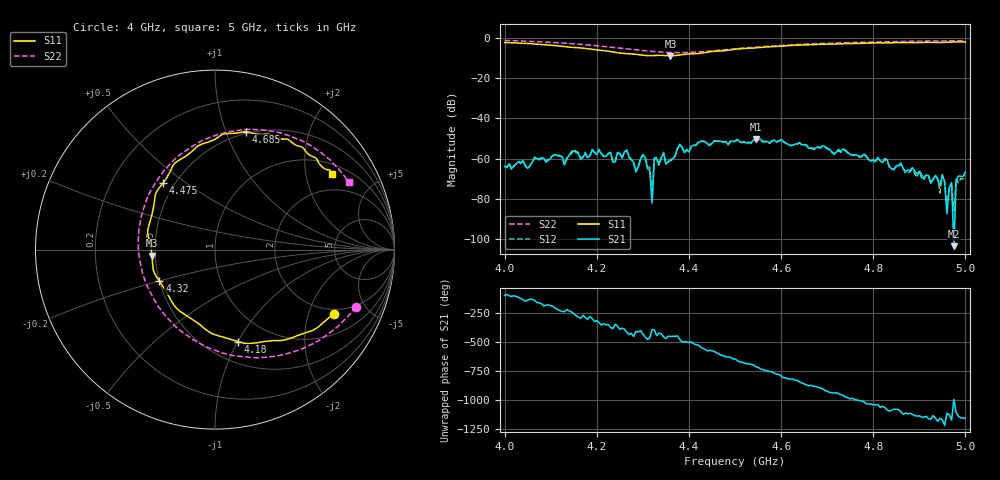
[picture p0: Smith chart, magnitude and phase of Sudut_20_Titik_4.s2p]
# Hz S RI R 50
! CMT, C1220, 16058040, 17.2.0/1
! Date: 15/08/2018 12:27:03
! Data: Format (Calibration Info)
! Freq  S11: Re/Im (F2)  S21: Re/Im (F2)  S12: Re/Im (F2)  S22: Re/Im (F2)
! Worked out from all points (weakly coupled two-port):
!   201 points, 4 GHz to 5 GHz, reference 50 ohm
!   highest |S21| = -50.34 dB at 4.545 GHz (marker M1); lowest = -103.3 dB at 4.975 GHz (marker M2)
!   lowest |S11| = -9.1 dB at 4.36 GHz (marker M3), VSWR 2.09, Z = 24 - j1.85 ohm
!   |S11| at or under -10 dB: nowhere
!   |S22| runs from -7.5 to -1.5 dB; largest |S21 - S12| = 0.00019
!   S11 on the Smith chart (normalised r, x): 4 GHz: 1.79, -2.96; 4.18 GHz: 0.70, -1.00; 4.32 GHz: 0.50, -0.20; 4.475 GHz: 0.43, +0.41; 4.685 GHz: 0.48, +1.18; 5 GHz: 1.34, +2.80
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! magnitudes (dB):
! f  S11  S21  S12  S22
! 4 GHz  -2.5  -63.8  -63.7  -1.5
! 4.17 GHz  -5.3  -59.5  -59.1  -3.5
! 4.18 GHz  -5.6  -59.5  -59.4  -3.6
! 4.265 GHz  -8.0  -55.7  -55.9  -5.6
! 4.285 GHz  -8.3  -66.5  -66.5  -6.1
! 4.3 GHz  -8.8  -58.3  -57.9  -6.5
! 4.315 GHz  -9.0  -65.7  -64.3  -6.8
! 4.32 GHz  -9.0  -82.0  -77.8  -6.9
! 4.325 GHz  -8.9  -59.7  -59.7  -7.0
! 4.335 GHz  -8.8  -62.9  -63.2  -7.2
! 4.36 GHz  -9.1  -60.5  -60.9  -7.4
! 4.475 GHz  -6.6  -51.8  -51.7  -6.1
! 4.5 GHz  -5.8  -51.2  -51.6  -5.6
! 4.545 GHz  -5.1  -50.3  -50.7  -4.8
! 4.67 GHz  -3.5  -54.9  -55.4  -3.1
! 4.685 GHz  -3.4  -54.5  -54.8  -3.0
! 4.835 GHz  -2.6  -64.2  -63.8  -2.0
! 4.945 GHz  -2.5  -73.3  -76.9  -1.7
! 4.95 GHz  -2.4  -68.2  -68.0  -1.7
! 4.975 GHz  -2.2  -103.3  -85.7  -1.6
! 4.98 GHz  -2.2  -70.7  -69.9  -1.6
! 5 GHz  -2.2  -66.7  -68.2  -1.6
